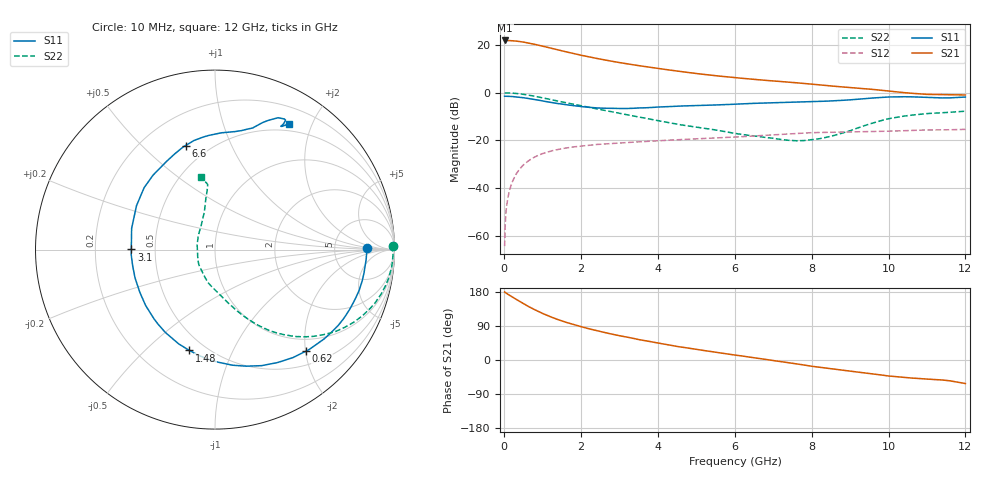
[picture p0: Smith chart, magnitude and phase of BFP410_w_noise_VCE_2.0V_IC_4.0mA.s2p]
! Infineon Technologies  Discrete & RF Semiconductors
! BFP410
! VCE =  2.0 V,  IC =  4.0 mA
! Common Emitter S-Parameters:  Nov 2015
# GHz  S  MA  R  50
!  f  S11  S21  S12  S22
! GHz  MAG  ANG  MAG  ANG  MAG  ANG  MAG  ANG
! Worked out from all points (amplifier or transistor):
!   243 points, 10 MHz to 12 GHz, reference 50 ohm
!   highest |S21| = 22.0 dB at 20 MHz (marker M1)
!   |S21| within 3 dB of that: start of sweep to 1.157 GHz
!   unconditionally stable (mu >= 1): 3.31 GHz to end of sweep
!   at 240 MHz: K = 0.07, MSG = 29.1 dB, |S12| = -36.4 dB
!   at 1.84 GHz: K = 0.56, MSG = 19.5 dB, |S12| = -22.7 dB
!   at 12 GHz: K = 1.08, MAG = 5.4 dB, |S12| = -15.4 dB
!   lowest NFmin = 0.94 dB at 900 MHz
!   S11 on the Smith chart (normalised r, x): 10 MHz: 12, +1; 620 MHz: 0.75, -2.01; 1.48 GHz: 0.41, -0.69; 3.1 GHz: 0.36, +0.00; 6.6 GHz: 0.38, +0.69; 12 GHz: 0.41, +1.68
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0.01  0.8455 0.6  12.5 179.4  0.0006 25.4  0.9943 1.2
0.02  0.8452 -1.1  12.54 178.6  0.0013 85.1  0.9888 -0.3
0.05  0.8439 -3.8  12.46 176.2  0.0034 86.5  0.9923 -1.8
0.095  0.8413 -7.7  12.49 173.8  0.0062 86.9  0.9911 -3.9
0.3  0.8211 -23.8  12.19 160.8  0.019 78.0  0.9684 -12.6
0.5  0.7854 -39.4  11.59 148.7  0.0305 70.4  0.9265 -20.5
0.62  0.7592 -48.2  11.12 141.8  0.0366 66.0  0.8944 -24.9
0.8  0.7188 -61.2  10.37 132.4  0.045 60.3  0.8428 -30.9
1  0.6724 -75.0  9.522 122.8  0.0528 54.5  0.7814 -36.9
1.26  0.6183 -91.4  8.466 111.9  0.0609 48.2  0.7055 -43.5
1.48  0.5795 -104.2  7.652 103.9  0.0663 43.9  0.6472 -48.1
1.72  0.5458 -117.3  6.896 96.0  0.0712 39.8  0.5913 -52.4
2.02  0.512 -132.2  6.089 87.5  0.0764 35.8  0.5304 -57.0
2.58  0.4738 -158.8  4.944 73.3  0.0839 29.4  0.4292 -64.5
3.1  0.4664 179.9  4.173 62.2  0.0893 25.2  0.3562 -70.7
4.1  0.504 148.3  3.158 43.0  0.0992 19.0  0.2509 -84.2
5  0.5396 129.8  2.532 27.8  0.1077 14.0  0.1896 -101.3
6.1  0.5793 112.6  2.042 11.8  0.1185 8.7  0.1363 -123.8
6.6  0.6025 105.8  1.881 4.5  0.1249 6.1  0.1208 -138.7
8.2  0.658 83.6  1.465 -19.1  0.1462 -6.1  0.1083 153.3
10.2  0.8192 63.2  1.047 -44.0  0.1578 -18.9  0.3038 99.1
12  0.8127 59.5  0.898 -62.1  0.1703 -32.7  0.4101 101.0
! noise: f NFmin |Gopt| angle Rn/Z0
0.45  0.98  0.32  5  0.21
0.9  0.94  0.3  19  0.2
1.8  1.11  0.22  51  0.18
2.4  1.13  0.21  57  0.19
5.5  2.09  0.32  -131  0.22
10  3.48  0.67  -53  1.85
